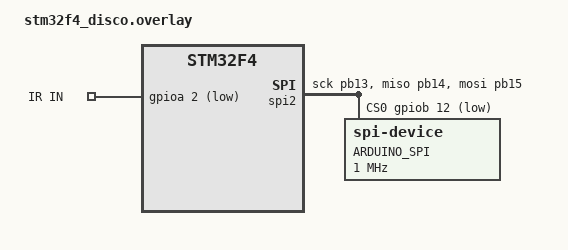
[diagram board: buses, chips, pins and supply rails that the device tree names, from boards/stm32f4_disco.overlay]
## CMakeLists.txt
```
cmake_minimum_required(VERSION 3.20.0)

find_package(Zephyr)
project(zephyr-alarm-system)

target_sources(app PRIVATE 
            src/main.c
            src/leds/led.c
            src/sensors/ir_sensor.c
            src/comm/spi.c)
```

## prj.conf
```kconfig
CONFIG_PRINTK=y
CONFIG_HEAP_MEM_POOL_SIZE=2048
CONFIG_KERNEL_MEM_POOL=y
CONFIG_ASSERT=y
CONFIG_GPIO=y
CONFIG_DEBUG=y
CONFIG_SPI=y

CONFIG_I2C=y
CONFIG_SENSOR=y
CONFIG_MPU6050=y
```

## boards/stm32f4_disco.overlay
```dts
/ {
    ir_sensor: gpio_keys {
        compatible = "gpio-keys";
        label = "IR Sensor";

        ir_input: ir_input {
            gpios = <&gpioa 2 GPIO_ACTIVE_LOW>;
            label = "IR IN";
        };
    };



    /* Set devicetree aliases */
    aliases {
        irsensor = &ir_input;
        arduinospi = &spi2;
    };
};

/* Modify the existing spi2 node */
&spi2 {
    status = "okay";
    pinctrl-0 = <&spi2_sck_pb13 &spi2_miso_pb14 &spi2_mosi_pb15>;
    pinctrl-names = "default";
    cs-gpios = <&gpiob 12 GPIO_ACTIVE_LOW>;

    arduino_spi_dev: arduino@0 {
        compatible = "spi-device";
        reg = <0>;
        spi-max-frequency = <1000000>;
        label = "ARDUINO_SPI";
    };
};
```

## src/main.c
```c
#include <zephyr/kernel.h>
#include <zephyr/device.h>
#include <zephyr/drivers/gpio.h>
#include <zephyr/sys/printk.h>
#include <zephyr/sys/__assert.h>
#include <string.h>
// #include <zephyr/drivers/spi.h>

#include "leds/led.h"
#include "sensors/ir_sensor.h"
#include "comm/spi.h"

#include <zephyr/drivers/sensor.h>

/* size of stack area used by each thread */
#define STACKSIZE 1024

/* scheduling priority used by each thread */
#define PRIORITY_SENSOR 6
#define PRIORITY_LED 7

/* Temp defs for MPU6050 */

#define MPU6050_NODE DT_ALIAS(mpu6050)

const struct device *const mpu6050 = DEVICE_DT_GET(MPU6050_NODE);

/* End of temp defs for MPU6050 */

K_FIFO_DEFINE(led0_fifo);
K_FIFO_DEFINE(led1_fifo);
K_FIFO_DEFINE(spi_fifo);

static const struct led led0 = {
	.spec = GPIO_DT_SPEC_GET(LED0_NODE, gpios),
	.num = 0,
};

static const struct led led1 = {
	.spec = GPIO_DT_SPEC_GET(LED1_NODE, gpios),
	.num = 1,
};

static const struct ir_sensor ir_sensor0 = {
	.spec = GPIO_DT_SPEC_GET(IR_SENSOR_NODE, gpios),
	// .num = 0,
};

static const struct device *spi_dev = DEVICE_DT_GET(SPI_NODE);

void blink0(void)
{
	blink(&led0, &led0_fifo, 0);
}

void blink1(void)
{
	blink(&led1, &led1_fifo, 1);
}

void ir_sensor_read0(void)
{
	ir_sensor_read(&ir_sensor0, &led0_fifo, &led1_fifo, &spi_fifo);
}

void spi_comm0(void)
{
    spi_comm(spi_dev, &spi_fifo);
}

/* Start of temp IMU code before thread refactoring */

int main(void){

	struct spi_fifo_t spi_fifo_data;

	if (!device_is_ready(mpu6050)) {
		printf("Device %s is not ready\n", mpu6050->name);
		return 0;
	}

	struct sensor_value acc_x_val;

	while (1){
		// first need to do sensor sample fetch
		int rc = sensor_sample_fetch(mpu6050);

		// then need to do sensor channel get
		rc = sensor_channel_get(mpu6050, SENSOR_CHAN_ACCEL_X, &acc_x_val);

		// use sensor_value_to_double to give reasonable output
		double acc_x = sensor_value_to_double(&acc_x_val);

		char buffer[19];
		size_t buffer_size = sizeof(buffer);

		int int_part = (int)acc_x;
		int frac_part = (int)((acc_x - int_part) * 100);
		snprintf(buffer, buffer_size, "The value is: %d.%02d", int_part, frac_part);

		memcpy(spi_fifo_data.message, buffer, buffer_size);
		spi_fifo_data.len = buffer_size;

		size_t size_spi = sizeof(struct spi_fifo_t);
		char *spi_mem_ptr = k_malloc(size_spi);
		
		while (spi_mem_ptr == NULL) {
			k_msleep(10);
			spi_mem_ptr = k_malloc(size_spi);
			if (spi_mem_ptr != NULL) {
				break;
			}
			continue;
		}

		memcpy(spi_mem_ptr, &spi_fifo_data, size_spi);
		k_fifo_put(&spi_fifo, spi_mem_ptr);
	}

	return 0;
}

/* End of temp code before thread refactoring */

/*	First Thread  */
K_THREAD_DEFINE(blink0_id, STACKSIZE, blink0, NULL, NULL, NULL,
		PRIORITY_LED, 0, 0);

/*	Second Thread  */
K_THREAD_DEFINE(blink1_id, STACKSIZE, blink1, NULL, NULL, NULL,
		PRIORITY_LED, 0, 0);

/*  Third Thread  */
K_THREAD_DEFINE(ir_sensor_read0_id, STACKSIZE, ir_sensor_read0, NULL, NULL, NULL,
		PRIORITY_SENSOR, 0, 0);

/* Fourth Thread for SPI communication */
K_THREAD_DEFINE(spi_comm_id, STACKSIZE, spi_comm0, NULL, NULL, NULL,
        PRIORITY_SENSOR, 0, 0);
```
